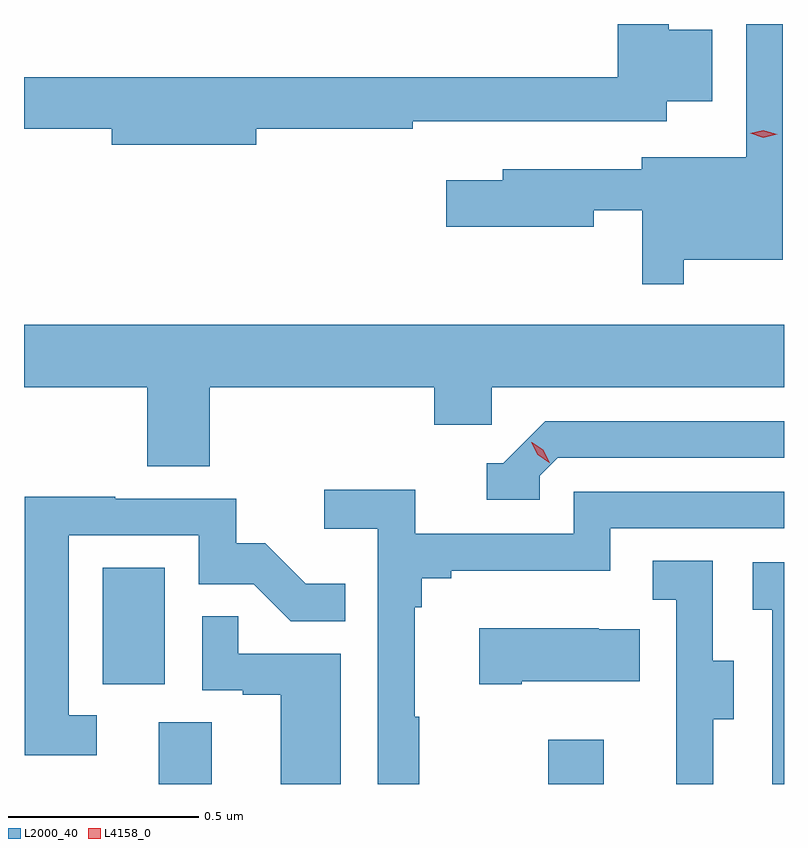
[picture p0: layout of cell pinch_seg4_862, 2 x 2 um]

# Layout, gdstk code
import gdstk
lib = gdstk.Library(unit=1e-6, precision=1e-09)
def R(c, l, rs):  # rectangles x0, y0, x1, y1
    for r in rs: c.add(gdstk.rectangle(r[:2], r[2:], *l))
def P(c, l, *ps):  # polygons
    for p in ps: c.add(gdstk.Polygon(p, *l))
L2000_40 = (2000, 40)
L4158_0 = (4158, 0)

pinch_seg4_862 = lib.new_cell('pinch_seg4_862')
R(pinch_seg4_862, L2000_40, [(875.201,795.776,875.341,795.938), (876.226,795.776,876.373,795.892), (875.054,796.038,875.218,796.345)])
P(pinch_seg4_862, L2000_40, [(876.583,797.156),(876.844,797.156),(876.844,797.776),(876.747,797.776),(876.747,797.425),(876.473,797.425),(876.473,797.394),(876.107,797.394),(876.107,797.365),(875.958,797.365),(875.958,797.243),(876.346,797.243),(876.346,797.286),(876.474,797.286),(876.474,797.091),(876.583,797.091)],
  [(875.458,797.5),(875.87,797.5),(875.87,797.52),(876.538,797.52),(876.538,797.573),(876.658,797.573),(876.658,797.761),(876.544,797.761),(876.544,797.776),(876.41,797.776),(876.41,797.636),(874.847,797.636),(874.847,797.5),(875.078,797.5),(875.078,797.458),(875.458,797.458)],
  [(874.847,796.82),(875.171,796.82),(875.171,796.612),(875.336,796.612),(875.336,796.82),(875.927,796.82),(875.927,796.722),(876.078,796.722),(876.078,796.82),(876.847,796.82),(876.847,796.984),(874.847,796.984)],
  [(876.204,796.587),(876.252,796.635),(876.847,796.635),(876.847,796.731),(876.219,796.731),(876.108,796.62),(876.065,796.62),(876.065,796.524),(876.204,796.524)],
  [(875.887,795.953),(875.875,795.953),(875.875,796.241),(875.894,796.241),(875.894,796.318),(875.971,796.318),(875.971,796.337),(876.39,796.337),(876.39,796.449),(876.847,796.449),(876.847,796.545),(876.294,796.545),(876.294,796.434),(875.876,796.434),(875.876,796.55),(875.637,796.55),(875.637,796.448),(875.778,796.448),(875.778,795.776),(875.887,795.776)],
  [(875.038,795.957),(874.965,795.957),(874.965,796.431),(875.307,796.431),(875.307,796.302),(875.451,796.302),(875.549,796.204),(875.693,796.204),(875.693,796.303),(875.589,796.303),(875.482,796.41),(875.406,796.41),(875.406,796.527),(875.087,796.527),(875.087,796.532),(874.849,796.532),(874.849,795.852),(875.038,795.852)],
  [(876.661,795.946),(876.715,795.946),(876.715,796.101),(876.66,796.101),(876.66,796.364),(876.501,796.364),(876.501,796.261),(876.564,796.261),(876.564,795.957),(876.563,795.957),(876.563,795.776),(876.661,795.776)],
  [(876.847,796.359),(876.765,796.359),(876.765,796.235),(876.816,796.235),(876.816,795.776),(876.847,795.776)],
  [(875.68,796.119),(875.411,796.119),(875.411,796.217),(875.316,796.217),(875.316,796.023),(875.423,796.023),(875.423,796.011),(875.522,796.011),(875.522,795.776),(875.68,795.776)],
  [(876.157,796.046),(876.467,796.046),(876.467,796.183),(876.359,796.183),(876.359,796.186),(876.045,796.186),(876.045,796.039),(876.157,796.039)])
P(pinch_seg4_862, L4158_0, [(876.793,797.477),(876.758,797.489),(876.757,797.489),(876.758,797.489),(876.793,797.497),(876.829,797.486),(876.829,797.486),(876.829,797.486)],
  [(876.229,796.622),(876.199,796.642),(876.182,796.675),(876.182,796.675),(876.183,796.675),(876.214,796.655),(876.23,796.622),(876.23,796.622)])

lib.write_gds('pinch_seg4_862.gds')
